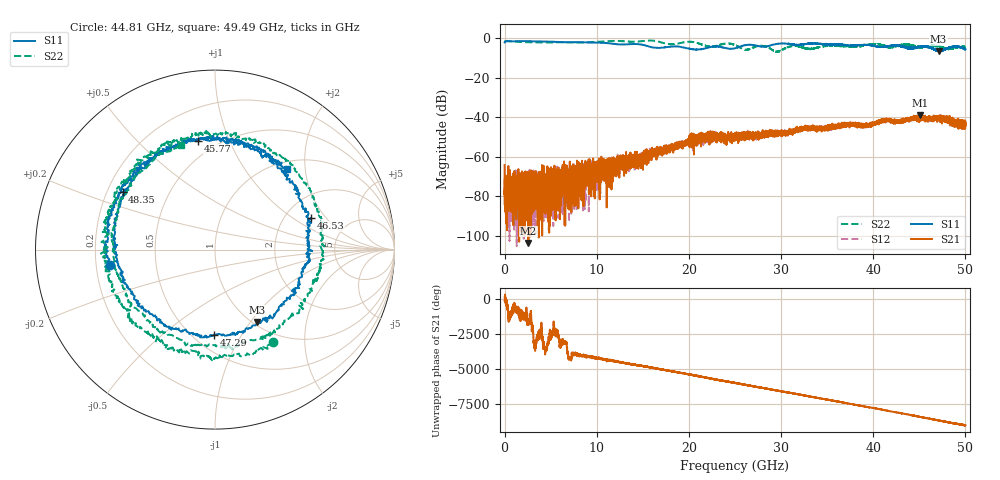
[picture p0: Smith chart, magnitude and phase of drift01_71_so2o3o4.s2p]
!Created with skrf (http://scikit-rf.org).
# Hz S RI R 50.0
!freq ReS11 ImS11 ReS21 ImS21 ReS12 ImS12 ReS22 ImS22
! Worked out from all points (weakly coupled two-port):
!   10001 points, 300 kHz to 50 GHz, reference 50 ohm
!   highest |S21| = -38.81 dB at 45.11 GHz (marker M1); lowest = -103.8 dB at 2.58 GHz (marker M2)
!   lowest |S11| = -6.6 dB at 47.1 GHz (marker M3), VSWR 2.75, Z = 52.2 - j54 ohm
!   |S11| at or under -10 dB: nowhere
!   |S22| runs from -6.8 to -1.0 dB; largest |S21 - S12| = 0.0035
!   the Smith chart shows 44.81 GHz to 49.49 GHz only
!   S11 on the Smith chart (normalised r, x): 44.81 GHz: 0.26, -0.07; 45.77 GHz: 0.40, +0.78; 46.53 GHz: 2.76, +1.43; 47.29 GHz: 0.63, -0.77; 48.35 GHz: 0.26, +0.27; 49.49 GHz: 1.13, +1.61
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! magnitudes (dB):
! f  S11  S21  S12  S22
! 300 kHz  -2.0  -64.2  -70.6  -1.3
! 270.3 MHz  -1.4  -81.1  -75.9  -1.4
! 2.58 GHz  -1.4  -103.8  -79.4  -1.9
! 6.08 GHz  -1.9  -72.6  -71.1  -2.0
! 8.335 GHz  -1.9  -74.3  -66.3  -2.1
! 8.935 GHz  -2.0  -68.1  -73.7  -2.0
! 16.67 GHz  -4.8  -56.1  -58.4  -1.6
! 22.14 GHz  -4.6  -51.1  -49.3  -4.1
! 25 GHz  -5.0  -50.2  -50.3  -3.4
! 29.56 GHz  -2.8  -47.3  -48.6  -6.7
! 31.27 GHz  -3.0  -47.0  -46.4  -4.0
! 33.34 GHz  -2.6  -44.9  -45.2  -5.4
! 41.67 GHz  -3.9  -41.0  -42.1  -4.5
! 44.81 GHz  -4.6  -40.5  -40.9  -4.3
! 45.11 GHz  -4.1  -38.8  -40.4  -4.8
! 45.77 GHz  -4.2  -41.0  -40.6  -4.2
! 46.53 GHz  -5.0  -40.2  -40.8  -3.9
! 47.1 GHz  -6.6  -39.5  -41.1  -4.1
! 47.29 GHz  -6.4  -40.4  -40.8  -4.2
! 48.35 GHz  -4.3  -43.2  -42.8  -5.2
! 49.49 GHz  -4.4  -45.3  -42.7  -4.3
! 50 GHz  -5.6  -43.2  -43.1  -4.2
